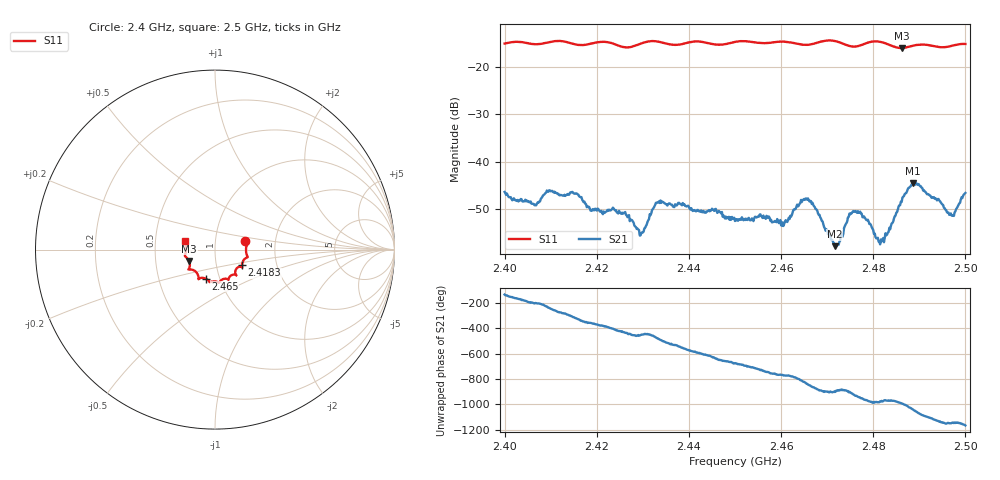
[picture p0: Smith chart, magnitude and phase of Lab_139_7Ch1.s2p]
# Hz S RI R 50
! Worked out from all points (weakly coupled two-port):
!   601 points, 2.4 GHz to 2.5 GHz, reference 50 ohm
!   highest |S21| = -44.50 dB at 2.4887 GHz (marker M1); lowest = -57.9 dB at 2.4717 GHz (marker M2)
!   lowest |S11| = -16.1 dB at 2.4862 GHz (marker M3), VSWR 1.37, Z = 37.1 - j4.8 ohm
!   |S11| at or under -10 dB: start of sweep to end of sweep
!   S12 and S22 are empty: the file has one direction only
!   S11 on the Smith chart (normalised r, x): 2.4 GHz: 1.40, +0.13; 2.4183 GHz: 1.33, -0.24; 2.465 GHz: 0.86, -0.29; 2.5 GHz: 0.71, +0.07
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2.4e9  0.1693 0.0457  -0.00322 -0.00352  0 0  0 0
2.406333e9  0.1729 0.00513  -0.00332 0.00127  0 0  0 0
2.409667e9  0.1785 -0.0329  -0.00268 0.0042  0 0  0 0
2.416667e9  0.1546 -0.0678  0.00392 0.00155  0 0  0 0
2.418333e9  0.15 -0.0869  0.00331 0.000244  0 0  0 0
2.426e9  0.1251 -0.1003  0.00095 -0.00273  0 0  0 0
2.429667e9  0.1131 -0.1346  -1.42e-07 -0.00176  0 0  0 0
2.433333e9  0.1176 -0.1411  -0.00198 -0.00313  0 0  0 0
2.45e9  0.0251 -0.181  0.00162 0.00171  0 0  0 0
2.455667e9  0.00237 -0.1773  0.00265 -0.00031  0 0  0 0
2.4605e9  -0.0289 -0.1818  0.00131 -0.00162  0 0  0 0
2.465e9  -0.0525 -0.1617  -0.000864 -0.00394  0 0  0 0
2.466667e9  -0.0714 -0.1572  -0.00272 -0.0023  0 0  0 0
2.471667e9  -0.0912 -0.1627  -0.00128 4e-05  0 0  0 0
2.475667e9  -0.1068 -0.1232  -0.0028 0.00107  0 0  0 0
2.4785e9  -0.1382 -0.1107  -0.00101 0.00219  0 0  0 0
2.481e9  -0.148 -0.1101  -0.000171 0.00156  0 0  0 0
2.483333e9  -0.1415 -0.0965  -0.000683 0.00168  0 0  0 0
2.486167e9  -0.1441 -0.063  6.76e-05 0.00374  0 0  0 0
2.488667e9  -0.1611 -0.0426  0.00466 0.00371  0 0  0 0
2.497e9  -0.1636 0.0278  0.00101 -0.0025  0 0  0 0
2.5e9  -0.1673 0.0467  0.000316 -0.00465  0 0  0 0
